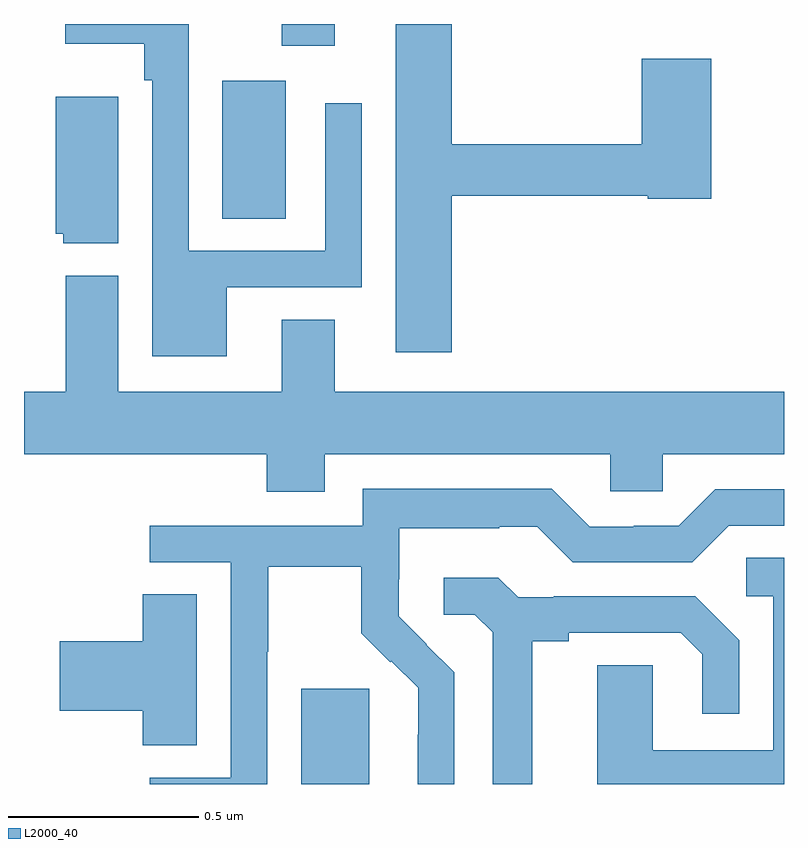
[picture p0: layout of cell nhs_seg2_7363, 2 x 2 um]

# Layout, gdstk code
import gdstk
lib = gdstk.Library(unit=1e-6, precision=1e-09)
def R(c, l, rs):  # rectangles x0, y0, x1, y1
    for r in rs: c.add(gdstk.rectangle(r[:2], r[2:], *l))
def P(c, l, *ps):  # polygons
    for p in ps: c.add(gdstk.Polygon(p, *l))
L2000_40 = (2000, 40)

nhs_seg2_7363 = lib.new_cell('nhs_seg2_7363')
R(nhs_seg2_7363, L2000_40, [(203.729,614.8,203.908,615.051), (203.522,616.288,203.689,616.651), (203.678,616.743,203.818,616.8)])
P(nhs_seg2_7363, L2000_40, [(203.533,616.107),(203.889,616.107),(203.889,616.591),(203.793,616.591),(203.793,616.203),(203.433,616.203),(203.433,616.8),(203.109,616.8),(203.109,616.748),(203.317,616.748),(203.317,616.652),(203.337,616.652),(203.337,615.926),(203.533,615.926)],
  [(204.125,616.348),(204.642,616.348),(204.642,616.34),(204.809,616.34),(204.809,616.708),(204.626,616.708),(204.626,616.484),(204.125,616.484),(204.125,616.8),(203.978,616.8),(203.978,615.936),(204.125,615.936)],
  [(203.248,616.609),(203.084,616.609),(203.084,616.248),(203.103,616.248),(203.103,616.223),(203.248,616.223)],
  [(203.791,615.668),(204.543,615.668),(204.543,615.57),(204.681,615.57),(204.681,615.668),(205,615.668),(205,615.832),(203.818,615.832),(203.818,616.022),(203.678,616.022),(203.678,615.832),(203.248,615.832),(203.248,616.138),(203.11,616.138),(203.11,615.832),(203,615.832),(203,615.668),(203.639,615.668),(203.639,615.569),(203.791,615.569)],
  [(203.64,615.148),(203.643,615.148),(203.643,615.372),(203.887,615.372),(203.887,615.197),(203.964,615.12),(203.967,615.123),(204.038,615.053),(204.038,614.93),(204.036,614.93),(204.036,614.8),(204.132,614.8),(204.132,615.094),(204.059,615.167),(204.06,615.168),(203.986,615.242),(203.986,615.339),(203.988,615.339),(203.988,615.473),(204.251,615.473),(204.251,615.477),(204.351,615.477),(204.444,615.384),(204.759,615.384),(204.855,615.48),(205,615.48),(205,615.576),(204.819,615.576),(204.723,615.48),(204.605,615.48),(204.605,615.477),(204.489,615.477),(204.389,615.577),(203.892,615.577),(203.892,615.48),(203.331,615.48),(203.331,615.384),(203.544,615.384),(203.544,614.817),(203.331,614.817),(203.331,614.8),(203.64,614.8)],
  [(205,615.395),(204.9,615.395),(204.9,615.294),(204.972,615.294),(204.972,614.889),(204.654,614.889),(204.654,615.113),(204.509,615.113),(204.509,614.8),(205,614.8)],
  [(204.337,615.176),(204.433,615.176),(204.433,615.198),(204.728,615.198),(204.785,615.141),(204.785,614.985),(204.882,614.985),(204.882,615.178),(204.766,615.294),(204.394,615.294),(204.394,615.291),(204.3,615.291),(204.248,615.343),(204.105,615.343),(204.105,615.246),(204.186,615.246),(204.233,615.199),(204.233,614.8),(204.337,614.8)],
  [(203.455,615.299),(203.312,615.299),(203.312,615.176),(203.094,615.176),(203.094,614.993),(203.312,614.993),(203.312,614.902),(203.455,614.902)])

lib.write_gds('nhs_seg2_7363.gds')
